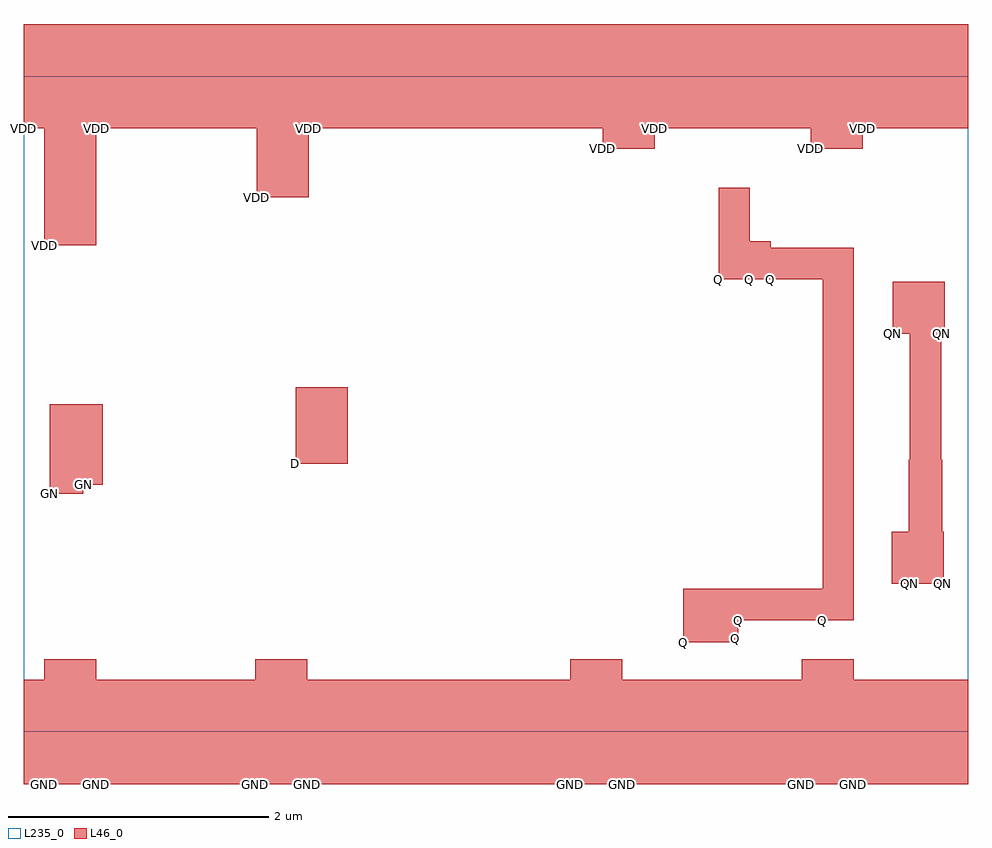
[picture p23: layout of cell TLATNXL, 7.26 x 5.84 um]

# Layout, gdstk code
import gdstk
lib = gdstk.Library(unit=1e-6, precision=1e-09)
def R(c, l, rs):  # rectangles x0, y0, x1, y1
    for r in rs: c.add(gdstk.rectangle(r[:2], r[2:], *l))
L46_0 = (46, 0)
L235_0 = (235, 0)

tlatnxl = lib.new_cell('TLATNXL')
R(tlatnxl, L46_0, [(0,-0.4,0.16,0.4), (0.16,-0.4,0.56,0.56), (0.56,-0.4,1.78,0.4), (1.78,-0.4,2.18,0.56), (2.18,-0.4,4.2,0.4), (4.2,-0.4,4.6,0.56), (4.6,-0.4,5.98,0.4), (5.98,-0.4,6.38,0.56), (6.38,-0.4,7.26,0.4), (5.07,0.69,5.47,1.1), (5.47,0.72,5.49,1.1), (5.49,0.86,6.14,1.1), (6.14,0.86,6.38,3.72), (6.67,1.14,6.8,1.54), (6.8,1.14,6.81,2.09), (6.81,1.14,7.05,3.46), (7.05,1.14,7.06,2.09), (7.06,1.14,7.07,1.54), (0.2,1.83,0.46,2.52), (0.46,1.9,0.61,2.52), (2.09,2.06,2.49,2.65), (6.68,3.06,6.81,3.46), (7.05,3.06,7.08,3.46), (5.34,3.48,5.58,4.18), (5.58,3.48,5.74,3.77), (5.74,3.48,6.14,3.72), (0.16,3.74,0.56,5.44), (1.79,4.11,2.19,5.44), (4.45,4.48,4.85,5.44), (6.05,4.48,6.45,5.44), (0,4.64,0.16,5.44), (0.56,4.64,1.79,5.44), (2.19,4.64,4.45,5.44), (4.85,4.64,6.05,5.44), (6.45,4.64,7.26,5.44)])
R(tlatnxl, L235_0, [(0,0,7.26,5.04)])
tlatnxl.add(gdstk.Label('QN', (7.05,3.06), layer=101, texttype=0))
tlatnxl.add(gdstk.Label('QN', (7.06,1.14), layer=101, texttype=0))
tlatnxl.add(gdstk.Label('QN', (7.05,1.14), layer=101, texttype=0))
tlatnxl.add(gdstk.Label('QN', (6.81,1.14), layer=101, texttype=0))
tlatnxl.add(gdstk.Label('QN', (6.8,1.14), layer=101, texttype=0))
tlatnxl.add(gdstk.Label('QN', (6.68,3.06), layer=101, texttype=0))
tlatnxl.add(gdstk.Label('QN', (6.67,1.14), layer=101, texttype=0))
tlatnxl.add(gdstk.Label('Q', (6.14,0.86), layer=101, texttype=0))
tlatnxl.add(gdstk.Label('Q', (5.49,0.86), layer=101, texttype=0))
tlatnxl.add(gdstk.Label('Q', (5.74,3.48), layer=101, texttype=0))
tlatnxl.add(gdstk.Label('Q', (5.58,3.48), layer=101, texttype=0))
tlatnxl.add(gdstk.Label('Q', (5.34,3.48), layer=101, texttype=0))
tlatnxl.add(gdstk.Label('Q', (5.47,0.72), layer=101, texttype=0))
tlatnxl.add(gdstk.Label('Q', (5.07,0.69), layer=101, texttype=0))
tlatnxl.add(gdstk.Label('GN', (0.46,1.9), layer=101, texttype=0))
tlatnxl.add(gdstk.Label('GN', (0.2,1.83), layer=101, texttype=0))
tlatnxl.add(gdstk.Label('D', (2.09,2.06), layer=101, texttype=0))
tlatnxl.add(gdstk.Label('VDD', (6.45,4.64), layer=101, texttype=0))
tlatnxl.add(gdstk.Label('VDD', (6.05,4.48), layer=101, texttype=0))
tlatnxl.add(gdstk.Label('VDD', (4.85,4.64), layer=101, texttype=0))
tlatnxl.add(gdstk.Label('VDD', (4.45,4.48), layer=101, texttype=0))
tlatnxl.add(gdstk.Label('VDD', (2.19,4.64), layer=101, texttype=0))
tlatnxl.add(gdstk.Label('VDD', (1.79,4.11), layer=101, texttype=0))
tlatnxl.add(gdstk.Label('VDD', (0.56,4.64), layer=101, texttype=0))
tlatnxl.add(gdstk.Label('VDD', (0.16,3.74), layer=101, texttype=0))
tlatnxl.add(gdstk.Label('VDD', (0,4.64), layer=101, texttype=0))
tlatnxl.add(gdstk.Label('GND', (6.38,-0.4), layer=101, texttype=0))
tlatnxl.add(gdstk.Label('GND', (5.98,-0.4), layer=101, texttype=0))
tlatnxl.add(gdstk.Label('GND', (4.6,-0.4), layer=101, texttype=0))
tlatnxl.add(gdstk.Label('GND', (4.2,-0.4), layer=101, texttype=0))
tlatnxl.add(gdstk.Label('GND', (2.18,-0.4), layer=101, texttype=0))
tlatnxl.add(gdstk.Label('GND', (1.78,-0.4), layer=101, texttype=0))
tlatnxl.add(gdstk.Label('GND', (0.56,-0.4), layer=101, texttype=0))
tlatnxl.add(gdstk.Label('GND', (0.16,-0.4), layer=101, texttype=0))
tlatnxl.add(gdstk.Label('GND', (0,-0.4), layer=101, texttype=0))

lib.write_gds('TLATNXL.gds')
